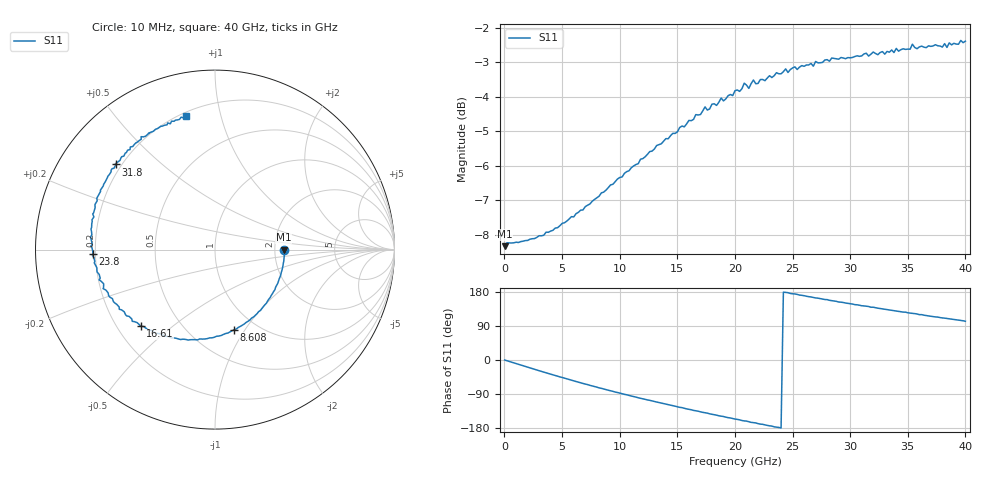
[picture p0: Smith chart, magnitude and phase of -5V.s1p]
!Agilent Technologies,N5227A,US51270434,A.10.00.00
!Agilent N5227A: A.10.00.00
!Date: Monday, January 26, 2026 17:26:21
!Correction: S11(Full 1 Port(1))
!S1P File: Measurement: S11:
# Hz S  dB  R 50
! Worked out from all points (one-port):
!   201 points, 10 MHz to 40 GHz, reference 50 ohm
!   lowest |S11| = -8.3 dB at 10 MHz (marker M1), VSWR 2.24, Z = 112 - j0.00541 ohm
!   |S11| at or under -10 dB: nowhere
!   S11 on the Smith chart (normalised r, x): 10 MHz: 2.24, -0.00; 8.608 GHz: 0.79, -0.90; 16.61 GHz: 0.30, -0.39; 23.8 GHz: 0.19, -0.02; 31.8 GHz: 0.18, +0.36; 40 GHz: 0.22, +0.78
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1e7  -8.33 -0.0
2.4094e9  -8.11 -22.6
5.00875e9  -7.67 -46.1
7.00825e9  -7.18 -63.5
8.60785e9  -6.76 -76.5
1.00075e10  -6.34 -87.4
1.260685e10  -5.59 -106.5
1.500625e10  -5.02 -123.5
1.660585e10  -4.52 -134.1
1.820545e10  -4.20 -144.0
2.0005e10  -3.82 -155.8
2.04049e10  -3.84 -157.9
2.08048e10  -3.61 -160.8
2.12047e10  -3.76 -162.9
2.16046e10  -3.51 -165.4
2.380405e10  -3.33 -178.0
2.500375e10  -3.17 174.7
2.700325e10  -2.98 163.7
2.8003e10  -2.92 159.3
2.900275e10  -2.91 153.1
3.00025e10  -2.87 148.4
3.16021e10  -2.82 141.2
3.180205e10  -2.76 139.3
3.2002e10  -2.70 139.3
3.500125e10  -2.62 124.7
3.540115e10  -2.48 123.2
3.740065e10  -2.49 113.7
4e10  -2.39 102.2
